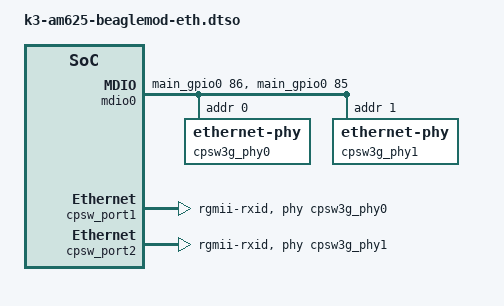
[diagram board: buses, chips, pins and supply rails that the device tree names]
// SPDX-License-Identifier: GPL-2.0
/*
 * Copyright (C) 2022 Texas Instruments Incorporated - https://www.ti.com/
 */

/dts-v1/;
/plugin/;

#include "k3-pinctrl.h"
#include <dt-bindings/gpio/gpio.h>

/*
 * Helper to show loaded overlays under: /proc/device-tree/chosen/overlays/
 */
&{/chosen} {
	overlays {
		k3-am625-beaglemod-eth.kernel = __TIMESTAMP__;
	};
};

&{/} {
	mdio0: bitbang-mdio {
		compatible = "virtual,mdio-gpio";
		pinctrl-names = "default";
		pinctrl-0 = <&mdio0_pins_default>;
		gpios = <&main_gpio0 86 GPIO_ACTIVE_HIGH>, /* MDC */
			<&main_gpio0 85 GPIO_ACTIVE_HIGH>; /* MDIO */
		#address-cells = <1>;
		#size-cells = <0>;

		cpsw3g_phy0: ethernet-phy@0 {
			reg = <0>;
			reset-assert-us = <25>;
			reset-deassert-us = <60000>; /* T2 */
		};

		cpsw3g_phy1: ethernet-phy@1 {
			reg = <1>;
			reset-assert-us = <25>;
			reset-deassert-us = <60000>; /* T2 */
		};
	};
};

&main_pmx0 {
	mdio0_pins_default: mdio0-pins-default {
		pinctrl-single,pins = <
			AM62X_IOPAD(0x0160, PIN_OUTPUT, 7) /* (AD24) MDIO0_MDC.GPIO0_86 */
			AM62X_IOPAD(0x015c, PIN_INPUT, 7) /* (AB22) MDIO0_MDIO.GPIO0_85 */
		>;
	};

	rgmii1_pins_default: rgmii1-pins-default {
		pinctrl-single,pins = <
			AM62X_IOPAD(0x014c, PIN_INPUT, 0) /* (AB17) RGMII1_RD0 */
			AM62X_IOPAD(0x0150, PIN_INPUT, 0) /* (AC17) RGMII1_RD1 */
			AM62X_IOPAD(0x0154, PIN_INPUT, 0) /* (AB16) RGMII1_RD2 */
			AM62X_IOPAD(0x0158, PIN_INPUT, 0) /* (AA15) RGMII1_RD3 */
			AM62X_IOPAD(0x0148, PIN_INPUT, 0) /* (AD17) RGMII1_RXC */
			AM62X_IOPAD(0x0144, PIN_INPUT, 0) /* (AE17) RGMII1_RX_CTL */
			AM62X_IOPAD(0x0134, PIN_OUTPUT, 0) /* (AE20) RGMII1_TD0 */
			AM62X_IOPAD(0x0138, PIN_OUTPUT, 0) /* (AD20) RGMII1_TD1 */
			AM62X_IOPAD(0x013c, PIN_OUTPUT, 0) /* (AE18) RGMII1_TD2 */
			AM62X_IOPAD(0x0140, PIN_OUTPUT, 0) /* (AD18) RGMII1_TD3 */
			AM62X_IOPAD(0x0130, PIN_OUTPUT, 0) /* (AE19) RGMII1_TXC */
			AM62X_IOPAD(0x012c, PIN_OUTPUT, 0) /* (AD19) RGMII1_TX_CTL */
		>;
	};

	rgmii2_pins_default: rgmii2-pins-default {
		pinctrl-single,pins = <
			AM62X_IOPAD(0x0184, PIN_INPUT, 0) /* (W18) RGMII2_RD0 */
			AM62X_IOPAD(0x0188, PIN_INPUT, 0) /* (Y20) RGMII2_RD1 */
			AM62X_IOPAD(0x018c, PIN_INPUT, 0) /* (Y19) RGMII2_RD2 */
			AM62X_IOPAD(0x0190, PIN_INPUT, 0) /* (W20) RGMII2_RD3 */
			AM62X_IOPAD(0x0180, PIN_INPUT, 0) /* (V18) RGMII2_RXC */
			AM62X_IOPAD(0x017c, PIN_INPUT, 0) /* (W19) RGMII2_RX_CTL */
			AM62X_IOPAD(0x016c, PIN_OUTPUT, 0) /* (AA20) RGMII2_TD0 */
			AM62X_IOPAD(0x0170, PIN_OUTPUT, 0) /* (U15) RGMII2_TD1 */
			AM62X_IOPAD(0x0174, PIN_OUTPUT, 0) /* (W17) RGMII2_TD2 */
			AM62X_IOPAD(0x0178, PIN_OUTPUT, 0) /* (V16) RGMII2_TD3 */
			AM62X_IOPAD(0x0168, PIN_OUTPUT, 0) /* (Y18) RGMII2_TXC */
			AM62X_IOPAD(0x0164, PIN_OUTPUT, 0) /* (Y21) RGMII2_TX_CTL */
		>;
	};
};

&cpsw_port1 {
	phy-mode = "rgmii-rxid";
	phy-handle = <&cpsw3g_phy0>;
};

&cpsw_port2 {
	phy-mode = "rgmii-rxid";
	phy-handle = <&cpsw3g_phy1>;
};

&cpsw3g {
	pinctrl-names = "default";
	pinctrl-0 = <&rgmii1_pins_default>, <&rgmii2_pins_default>;
	assigned-clocks = <&k3_clks 157 70>, <&k3_clks 157 20>;
	assigned-clock-parents = <&k3_clks 157 72>, <&k3_clks 157 22>;
};
